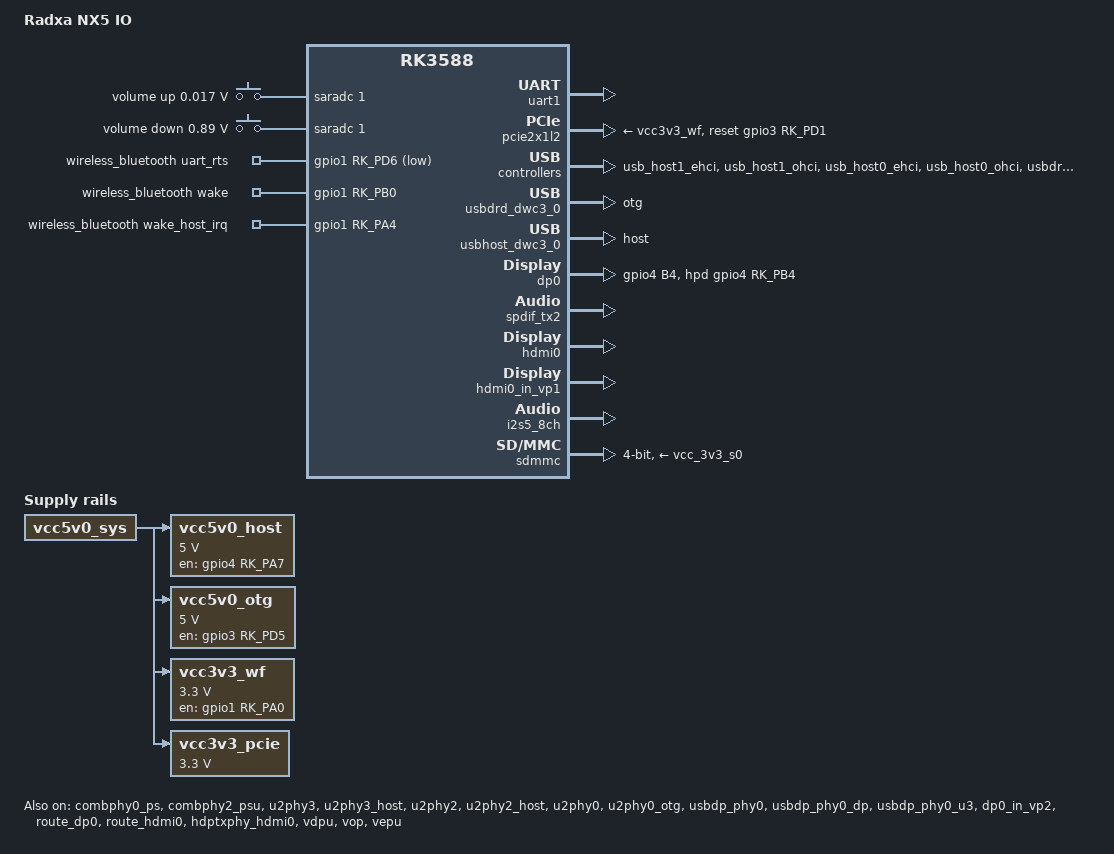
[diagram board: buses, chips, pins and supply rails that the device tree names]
// SPDX-License-Identifier: (GPL-2.0+ OR MIT)
/*
 * Copyright (c) 2022 Rockchip Electronics Co., Ltd.
 * Copyright (c) 2022 Radxa Limited
 *
 */

/dts-v1/;

#include "rk3588s-radxa-nx5.dtsi"
// #include "rk3588s-radxa-nx5-rpi-camera-imx219-1.dtsi"
// #include "rk3588-radxa-nx5-imx464_2.dtsi"

/ {
	model = "Radxa NX5 IO";
	compatible = "radxa,nx5-io", "rockchip,rk3588";

	adc_keys: adc-keys {
		compatible = "adc-keys";
		io-channels = <&saradc 1>;
		io-channel-names = "buttons";
		keyup-threshold-microvolt = <1800000>;
		poll-interval = <100>;

		vol-up-key {
			label = "volume up";
			linux,code = <KEY_VOLUMEUP>;
			press-threshold-microvolt = <17000>;
		};

		vol-down-key {
			label = "volume down";
			linux,code = <KEY_VOLUMEDOWN>;
			press-threshold-microvolt = <890000>;
		};
	};

	vcc5v0_host: vcc5v0-host-regulator {
		compatible = "regulator-fixed";
		regulator-name = "vcc5v0_host";
		regulator-boot-on;
		regulator-always-on;
		regulator-min-microvolt = <5000000>;
		regulator-max-microvolt = <5000000>;
		enable-active-high;
		gpio = <&gpio4 RK_PA7 GPIO_ACTIVE_HIGH>;
		pinctrl-names = "default";
		pinctrl-0 = <&vcc5v0_host_en>;
		vin-supply = <&vcc5v0_sys>;
	};

	vcc5v0_otg: vcc5v0-otg-regulator {
		compatible = "regulator-fixed";
		regulator-name = "vcc5v0_otg";
		regulator-boot-on;
		regulator-always-on;
		regulator-min-microvolt = <5000000>;
		regulator-max-microvolt = <5000000>;
		enable-active-high;
		gpio = <&gpio3 RK_PD5 GPIO_ACTIVE_HIGH>;
		pinctrl-names = "default";
		pinctrl-0 = <&vcc5v0_otg_en>;
		vin-supply = <&vcc5v0_sys>;
	};

	hdmi0_sound: hdmi0-sound {
		status = "okay";
		compatible = "simple-audio-card";
		simple-audio-card,format = "i2s";
		simple-audio-card,mclk-fs = <128>;
		simple-audio-card,name = "rockchip,hdmi0";

		simple-audio-card,cpu {
			sound-dai = <&i2s5_8ch>;
		};
		simple-audio-card,codec {
			sound-dai = <&hdmi0>;
		};
	};

	dp0_sound: dp0-sound {
		status = "okay";
		compatible = "rockchip,hdmi";
		rockchip,mclk-fs = <512>;
		rockchip,card-name= "rockchip,dp0";
		rockchip,cpu = <&spdif_tx2>;
		rockchip,codec = <&dp0 1>;
		rockchip,jack-det;
	};

	vcc3v3_wf: vcc3v3-wf {
		compatible = "regulator-fixed";
		regulator-name = "vcc3v3_wf";
		regulator-min-microvolt = <3300000>;
		regulator-max-microvolt = <3300000>;
		startup-delay-us = <5000>;
		regulator-boot-on;
		regulator-always-on;
		enable-active-high;
		gpios = <&gpio1 RK_PA0 GPIO_ACTIVE_HIGH>;
		vin-supply = <&vcc5v0_sys>;
		regulator-state-mem {
			regulator-off-in-suspend;
		};
	};

	vcc3v3_pcie: vcc3v3-pcie {
		compatible = "regulator-fixed";
		regulator-name = "vcc3v3_pcie";
		regulator-min-microvolt = <3300000>;
		regulator-max-microvolt = <3300000>;
		startup-delay-us = <5000>;
		vin-supply = <&vcc5v0_sys>;
	};

	wireless_bluetooth: wireless-bluetooth {
        compatible = "bluetooth-platdata";
        clocks = <&hym8563>;
        clock-names = "ext_clock";
        uart_rts_gpios = <&gpio1 RK_PD6 GPIO_ACTIVE_LOW>;
        pinctrl-names = "default", "rts_gpio";
        pinctrl-0 = <&uart1m1_rtsn>, <&bt_wake_gpio>, <&bt_irq_gpio>;
        pinctrl-1 = <&uart1_gpios>;
        BT,wake_gpio     = <&gpio1 RK_PB0 GPIO_ACTIVE_HIGH>;
        BT,wake_host_irq = <&gpio1 RK_PA4 GPIO_ACTIVE_HIGH>;
        status = "okay";
	};
};

&uart1 {
	status = "okay";
	pinctrl-names = "default";
	pinctrl-0 = <&uart1m1_xfer &uart1m1_ctsn>;
};

&combphy0_ps {
	status = "okay";
};

&pcie2x1l2 {
	reset-gpios = <&gpio3 RK_PD1 GPIO_ACTIVE_HIGH>;
	rockchip,skip-scan-in-resume;
	vpcie3v3-supply = <&vcc3v3_wf>;
	status = "okay";
};

&combphy2_psu {
	status = "okay";
};

&usb_host1_ehci {
	status = "okay";
};

&usb_host1_ohci {
	status = "okay";
};

&u2phy3 {
	status = "okay";
};

&u2phy3_host {
	phy-supply = <&vcc5v0_host>;
	status = "okay";
};

&usb_host0_ehci {
	status = "okay";
};

&usb_host0_ohci {
	status = "okay";
};

&u2phy2 {
	status = "okay";
};

&u2phy2_host {
	status = "okay";
	phy-supply = <&vcc5v0_host>;
};

&u2phy0 {
	status = "okay";
};

&u2phy0_otg {
	status = "okay";
	//rockchip,sel-pipe-phystatus;
	vbus-supply = <&vcc5v0_otg>;
};

&usbdrd3_0 {
	status = "okay";
};

&usbdrd_dwc3_0 {
	status = "okay";
	dr_mode = "otg";
	//maximum-speed = "high-speed";
	extcon = <&u2phy0>;
};

&usbdp_phy0 {
	status = "okay";
	rockchip,dp-lane-mux = < 0 1 >;
};

&usbdp_phy0_dp {
	status = "okay";
};

&usbdp_phy0_u3 {
	//maximum-speed = "high-speed";
	status = "okay";
};

&usbhost3_0 {
	status = "okay";
};

&usbhost_dwc3_0 {
	dr_mode = "host";
	status = "okay";
};

&dp0 {
	status = "okay";
	pinctrl-names = "default";
	pinctrl-0 = <&dp0_hpd>;
	hpd-gpios = <&gpio4 RK_PB4 GPIO_ACTIVE_HIGH>;
};

&dp0_in_vp2 {
	status = "okay";
};

&route_dp0 {
	status = "okay";
	connect = <&vp2_out_dp0>;
};

&spdif_tx2 {
	status = "okay";
};

&hdmi0 {
	enable-gpios = <&gpio4 RK_PB0 GPIO_ACTIVE_HIGH>;
	status = "okay";
};

&hdmi0_in_vp1 {
	status = "okay";
};

&route_hdmi0 {
	status = "okay";
	connect = <&vp1_out_hdmi0>;

};

&hdptxphy_hdmi0 {
	status = "okay";
};

&i2s5_8ch {
	status = "okay";
};

&vdpu {
	status = "okay";
};

&vdpu_mmu {
	status = "okay";
};

&vop {
	status = "okay";
};

&vop_mmu {
	status = "okay";
};

&vepu {
	status = "okay";
};

/* vp0 & vp3 are not used on this board */

&vp1 {
	rockchip,plane-mask = <(1 << ROCKCHIP_VOP2_CLUSTER0 | 1 << ROCKCHIP_VOP2_ESMART0 |
				1 << ROCKCHIP_VOP2_CLUSTER1 | 1 << ROCKCHIP_VOP2_ESMART1)>;
	rockchip,primary-plane = <ROCKCHIP_VOP2_ESMART1>;
};

&vp2 {
	rockchip,plane-mask = <(1 << ROCKCHIP_VOP2_CLUSTER2 | 1 << ROCKCHIP_VOP2_ESMART2 |
				1 << ROCKCHIP_VOP2_CLUSTER3 | 1 << ROCKCHIP_VOP2_ESMART3)>;
	rockchip,primary-plane = <ROCKCHIP_VOP2_ESMART2>;
};

&display_subsystem {
	clocks = <&hdptxphy_hdmi_clk0>;
	clock-names = "hdmi0_phy_pll";
};

&hdptxphy_hdmi_clk0 {
	status = "okay";
};

&sdmmc {
	no-sdio;
	no-mmc;
	bus-width = <4>;
	cap-mmc-highspeed;
	cap-sd-highspeed;
	disable-wp;
	sd-uhs-sdr104;
	vmmc-supply = <&vcc_3v3_s0>;
	vqmmc-supply = <&vccio_sd_s0>;
	pinctrl-names = "default";
	pinctrl-0 = <&sdmmc_bus4 &sdmmc_clk &sdmmc_cmd &sdmmc_det>;
	status = "okay";
};

&pinctrl {
	dp {
		dp0_hpd: dp0-hpd {
			rockchip,pins = <4 RK_PB4 RK_FUNC_GPIO &pcfg_pull_none>;
		};
	};

	usb {
		vcc5v0_host_en: vcc5v0-host-en {
			rockchip,pins = <4 RK_PA7 RK_FUNC_GPIO &pcfg_pull_none>;
		};

		vcc5v0_otg_en: vcc5v0-otg-en {
			rockchip,pins = <3 RK_PD5 RK_FUNC_GPIO &pcfg_pull_none>;
		};
	};

	wireless-bluetooth {
        uart1_gpios: uart1-gpios {
            rockchip,pins = <1 RK_PD6 RK_FUNC_GPIO &pcfg_pull_none>;
        };

        bt_wake_gpio: bt-wake-gpio {
            rockchip,pins = <1 RK_PB0 RK_FUNC_GPIO &pcfg_pull_none>;
        };

        bt_irq_gpio: bt-irq-gpio {
            rockchip,pins = <0 RK_PA4 RK_FUNC_GPIO &pcfg_pull_down>;
        };
	};
};
